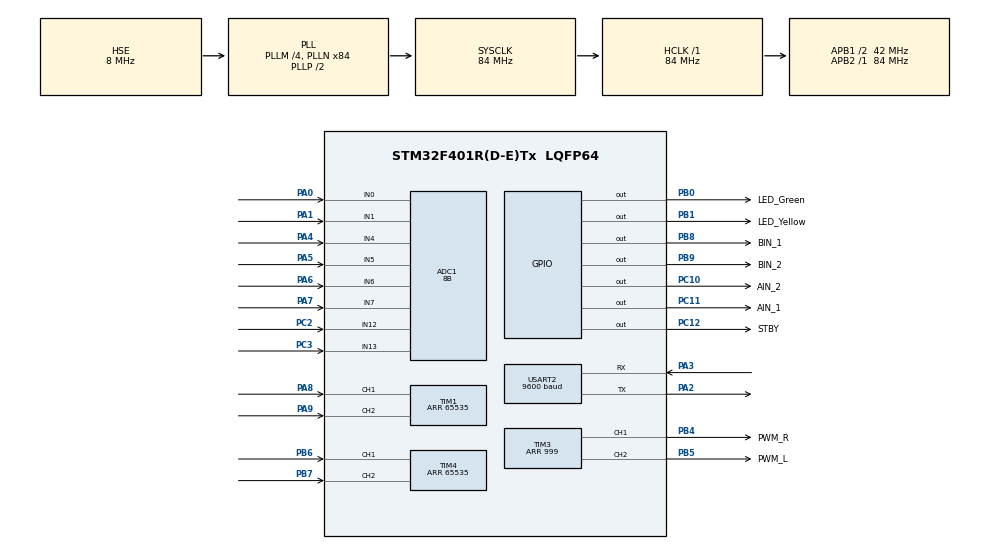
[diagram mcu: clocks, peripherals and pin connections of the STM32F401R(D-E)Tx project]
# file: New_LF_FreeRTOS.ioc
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ADC1.Channel-10\#ChannelRegularConversion=ADC_CHANNEL_6
ADC1.Channel-11\#ChannelRegularConversion=ADC_CHANNEL_7
ADC1.Channel-4\#ChannelRegularConversion=ADC_CHANNEL_12
ADC1.Channel-5\#ChannelRegularConversion=ADC_CHANNEL_13
ADC1.Channel-6\#ChannelRegularConversion=ADC_CHANNEL_0
ADC1.Channel-7\#ChannelRegularConversion=ADC_CHANNEL_1
ADC1.Channel-8\#ChannelRegularConversion=ADC_CHANNEL_4
ADC1.Channel-9\#ChannelRegularConversion=ADC_CHANNEL_5
ADC1.ClockPrescaler=ADC_CLOCK_SYNC_PCLK_DIV4
ADC1.ContinuousConvMode=ENABLE
ADC1.DMAContinuousRequests=ENABLE
ADC1.NbrOfConversion=8
ADC1.NbrOfConversionFlag=1
ADC1.Rank-10\#ChannelRegularConversion=7
ADC1.Rank-11\#ChannelRegularConversion=8
ADC1.Rank-4\#ChannelRegularConversion=1
ADC1.Rank-5\#ChannelRegularConversion=2
ADC1.Rank-6\#ChannelRegularConversion=3
ADC1.Rank-7\#ChannelRegularConversion=4
ADC1.Rank-8\#ChannelRegularConversion=5
ADC1.Rank-9\#ChannelRegularConversion=6
ADC1.Resolution=ADC_RESOLUTION_8B
ADC1.SamplingTime-10\#ChannelRegularConversion=ADC_SAMPLETIME_480CYCLES
ADC1.SamplingTime-11\#ChannelRegularConversion=ADC_SAMPLETIME_480CYCLES
ADC1.SamplingTime-4\#ChannelRegularConversion=ADC_SAMPLETIME_480CYCLES
ADC1.SamplingTime-5\#ChannelRegularConversion=ADC_SAMPLETIME_480CYCLES
ADC1.SamplingTime-6\#ChannelRegularConversion=ADC_SAMPLETIME_480CYCLES
ADC1.SamplingTime-7\#ChannelRegularConversion=ADC_SAMPLETIME_480CYCLES
ADC1.SamplingTime-8\#ChannelRegularConversion=ADC_SAMPLETIME_480CYCLES
ADC1.SamplingTime-9\#ChannelRegularConversion=ADC_SAMPLETIME_480CYCLES
ADC1.ScanConvMode=ENABLE
ADC1.master=1
Dma.ADC1.0.Direction=DMA_PERIPH_TO_MEMORY
Dma.ADC1.0.FIFOMode=DMA_FIFOMODE_DISABLE
Dma.ADC1.0.Instance=DMA2_Stream0
Dma.ADC1.0.MemDataAlignment=DMA_MDATAALIGN_HALFWORD
Dma.ADC1.0.MemInc=DMA_MINC_ENABLE
Dma.ADC1.0.Mode=DMA_CIRCULAR
Dma.ADC1.0.PeriphDataAlignment=DMA_PDATAALIGN_HALFWORD
Dma.ADC1.0.PeriphInc=DMA_PINC_DISABLE
Dma.ADC1.0.Priority=DMA_PRIORITY_LOW
Dma.Request0=ADC1
FREERTOS.INCLUDE_eTaskGetState=1
FREERTOS.Tasks01=defaultTask,0,128,StartDefaultTask,Default,NULL
Mcu.Family=STM32F4
Mcu.Name=STM32F401R(D-E)Tx
Mcu.Package=LQFP64
NVIC.DMA2_Stream0_IRQn=true\:5\:0\:false\:false\:true\:true\:false
NVIC.PriorityGroup=NVIC_PRIORITYGROUP_4
NVIC.TIM1_TRG_COM_TIM11_IRQn=true\:0\:0\:false\:false\:true\:false\:false
NVIC.TimeBase=TIM1_TRG_COM_TIM11_IRQn
NVIC.TimeBaseIP=TIM11
NVIC.USART2_IRQn=true\:5\:0\:false\:false\:true\:true\:true
PA0-WKUP.Signal=ADCx_IN0
PA1.Signal=ADCx_IN1
PA2.Mode=Asynchronous
PA2.Signal=USART2_TX
PA3.Mode=Asynchronous
PA3.Signal=USART2_RX
PA4.Signal=ADCx_IN4
PA5.Signal=ADCx_IN5
PA6.Signal=ADCx_IN6
PA7.Signal=ADCx_IN7
PA8.Signal=S_TIM1_CH1
PA9.Signal=S_TIM1_CH2
PB0.GPIO_Label=LED_Green
PB0.Signal=GPIO_Output
PB1.GPIO_Label=LED_Yellow
PB1.Signal=GPIO_Output
PB3.GPIO_Label=SWO
PB3.Signal=SYS_JTDO-SWO
PB4.GPIO_Label=PWM_R
PB4.Signal=S_TIM3_CH1
PB5.GPIO_Label=PWM_L
PB5.Signal=S_TIM3_CH2
PB6.Signal=S_TIM4_CH1
PB7.Signal=S_TIM4_CH2
PB8.GPIO_Label=BIN_1
PB8.Signal=GPIO_Output
PB9.GPIO_Label=BIN_2
PB9.Signal=GPIO_Output
PC10.GPIO_Label=AIN_2
PC10.Signal=GPIO_Output
PC11.GPIO_Label=AIN_1
PC11.Signal=GPIO_Output
PC12.GPIO_Label=STBY
PC12.Signal=GPIO_Output
PC14-OSC32_IN.Mode=LSE-External-Oscillator
PC14-OSC32_IN.Signal=RCC_OSC32_IN
PC15-OSC32_OUT.Mode=LSE-External-Oscillator
PC15-OSC32_OUT.Signal=RCC_OSC32_OUT
PC2.Signal=ADCx_IN12
PC3.Signal=ADCx_IN13
PH0\ -\ OSC_IN.Mode=HSE-External-Oscillator
PH0\ -\ OSC_IN.Signal=RCC_OSC_IN
PH1\ -\ OSC_OUT.Mode=HSE-External-Oscillator
PH1\ -\ OSC_OUT.Signal=RCC_OSC_OUT
ProjectManager.HeapSize=0x200
ProjectManager.StackSize=0x400
ProjectManager.TargetToolchain=SW4STM32
RCC.48MHZClocksFreq_Value=42000000
RCC.AHBFreq_Value=84000000
RCC.APB1CLKDivider=RCC_HCLK_DIV2
RCC.APB1Freq_Value=42000000
RCC.APB1TimFreq_Value=84000000
RCC.APB2Freq_Value=84000000
RCC.APB2TimFreq_Value=84000000
RCC.CortexFreq_Value=84000000
RCC.HCLKFreq_Value=84000000
RCC.HSE_VALUE=8000000
RCC.HSI_VALUE=16000000
RCC.PLLM=4
RCC.PLLN=84
RCC.PLLSourceVirtual=RCC_PLLSOURCE_HSE
RCC.SYSCLKFreq_VALUE=84000000
RCC.SYSCLKSource=RCC_SYSCLKSOURCE_PLLCLK
RCC.VCOOutputFreq_Value=168000000
SH.ADCx_IN0.0=ADC1_IN0,IN0
SH.ADCx_IN1.0=ADC1_IN1,IN1
SH.ADCx_IN12.0=ADC1_IN12,IN12
SH.ADCx_IN13.0=ADC1_IN13,IN13
SH.ADCx_IN4.0=ADC1_IN4,IN4
SH.ADCx_IN5.0=ADC1_IN5,IN5
SH.ADCx_IN6.0=ADC1_IN6,IN6
SH.ADCx_IN7.0=ADC1_IN7,IN7
SH.S_TIM1_CH1.0=TIM1_CH1,Encoder_Interface
SH.S_TIM1_CH2.0=TIM1_CH2,Encoder_Interface
SH.S_TIM3_CH1.0=TIM3_CH1,PWM Generation1 CH1
SH.S_TIM3_CH2.0=TIM3_CH2,PWM Generation2 CH2
SH.S_TIM4_CH1.0=TIM4_CH1,Encoder_Interface
SH.S_TIM4_CH2.0=TIM4_CH2,Encoder_Interface
TIM1.EncoderMode=TIM_ENCODERMODE_TI12
TIM1.IC1Filter=15
TIM1.IC2Filter=15
TIM1.Period=65535
TIM3.Channel-PWM\ Generation1\ CH1=TIM_CHANNEL_1
TIM3.Channel-PWM\ Generation2\ CH2=TIM_CHANNEL_2
TIM3.Period=999
TIM4.CounterMode=TIM_COUNTERMODE_UP
TIM4.EncoderMode=TIM_ENCODERMODE_TI12
TIM4.IC1Filter=15
TIM4.IC2Filter=15
TIM4.Period=65535
USART2.BaudRate=9600
USART2.VirtualMode=VM_ASYNC
VP_FREERTOS_VS_ENABLE.Mode=Enabled
VP_SYS_VS_tim11.Mode=TIM11
VP_TIM3_VS_ClockSourceINT.Mode=Internal
board=custom

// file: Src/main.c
/* USER CODE BEGIN Header */
/**
  ******************************************************************************
  * @file           : main.c
  * @brief          : Main program body
  ******************************************************************************
  * This notice applies to any and all portions of this file
  * that are not between comment pairs USER CODE BEGIN and
  * USER CODE END. Other portions of this file, whether
  * inserted by the user or by software development tools
  * are owned by their respective copyright owners.
  *
  * Copyright (c) 2019 STMicroelectronics International N.V.
  * All rights reserved.
  *
  * Redistribution and use in source and binary forms, with or without
  * modification, are permitted, provided that the following conditions are met:
  *
  * 1. Redistribution of source code must retain the above copyright notice,
  *    this list of conditions and the following disclaimer.
  * 2. Redistributions in binary form must reproduce the above copyright notice,
  *    this list of conditions and the following disclaimer in the documentation
  *    and/or other materials provided with the distribution.
  * 3. Neither the name of STMicroelectronics nor the names of other
  *    contributors to this software may be used to endorse or promote products
  *    derived from this software without specific written permission.
  * 4. This software, including modifications and/or derivative works of this
  *    software, must execute solely and exclusively on microcontroller or
  *    microprocessor devices manufactured by or for STMicroelectronics.
  * 5. Redistribution and use of this software other than as permitted under
  *    this license is void and will automatically terminate your rights under
  *    this license.
  *
  * THIS SOFTWARE IS PROVIDED BY STMICROELECTRONICS AND CONTRIBUTORS "AS IS"
  * AND ANY EXPRESS, IMPLIED OR STATUTORY WARRANTIES, INCLUDING, BUT NOT
  * LIMITED TO, THE IMPLIED WARRANTIES OF MERCHANTABILITY, FITNESS FOR A
  * PARTICULAR PURPOSE AND NON-INFRINGEMENT OF THIRD PARTY INTELLECTUAL PROPERTY
  * RIGHTS ARE DISCLAIMED TO THE FULLEST EXTENT PERMITTED BY LAW. IN NO EVENT
  * SHALL STMICROELECTRONICS OR CONTRIBUTORS BE LIABLE FOR ANY DIRECT, INDIRECT,
  * INCIDENTAL, SPECIAL, EXEMPLARY, OR CONSEQUENTIAL DAMAGES (INCLUDING, BUT NOT
  * LIMITED TO, PROCUREMENT OF SUBSTITUTE GOODS OR SERVICES; LOSS OF USE, DATA,
  * OR PROFITS; OR BUSINESS INTERRUPTION) HOWEVER CAUSED AND ON ANY THEORY OF
  * LIABILITY, WHETHER IN CONTRACT, STRICT LIABILITY, OR TORT (INCLUDING
  * NEGLIGENCE OR OTHERWISE) ARISING IN ANY WAY OUT OF THE USE OF THIS SOFTWARE,
  * EVEN IF ADVISED OF THE POSSIBILITY OF SUCH DAMAGE.
  *
  ******************************************************************************
  */
/* USER CODE END Header */

#include "main.h"
#include "cmsis_os.h"
#include "adc.h"
#include "dma.h"
#include "tim.h"
#include "usart.h"
#include "gpio.h"

/* USER CODE BEGIN Includes */

#include "FreeRTOS.h"
#include "task.h"
#include "communication.h"
#include "state_machine.h"
#include "task_line_sensor_handler.h"
#include "encoders.h"
#include "pid.h"
#include "task_motor_controller.h"
#include "config.h"
#include "task_track_recording.h"
#include "task_encoder_handler.h"

/* USER CODE END Includes */

void SystemClock_Config(void);
void MX_FREERTOS_Init(void);
/* USER CODE BEGIN PFP */

void HAL_UART_RxCpltCallback(UART_HandleTypeDef *huart)
{
	handleUart();
}

/* USER CODE END PFP */

int main(void)
{

  /* MCU Configuration--------------------------------------------------------*/

  /* Reset of all peripherals, Initializes the Flash interface and the Systick. */
  HAL_Init();

  /* Configure the system clock */
  SystemClock_Config();

  /* Initialize all configured peripherals */
  MX_GPIO_Init();
  MX_DMA_Init();
  MX_ADC1_Init();
  MX_TIM3_Init();
  MX_TIM1_Init();
  MX_TIM4_Init();
  MX_USART2_UART_Init();
  /* USER CODE BEGIN 2 */

  set_initial_config();
  initIncomingRequestsHandler();
  initTaskNormalRun();
  initTaskEncoderHandler();
  initTaskLineSensorHandler();
  initTaskMotorController();
  initTaskTrackRecording();
/*
  init_PWM();

  init_motor(getRightMotorPtr(), &(TIM3->CCR1), BIN_1_GPIO_Port, BIN_2_GPIO_Port, BIN_1_Pin, BIN_2_Pin);
  init_motor(getLeftMotorPtr(), &(TIM3->CCR2), AIN_1_GPIO_Port, AIN_2_GPIO_Port, AIN_1_Pin, AIN_2_Pin);

  MOTOR_T *left = getLeftMotorPtr();
  MOTOR_T *right = getRightMotorPtr();
  set_PWM(right, -350);
  set_PWM(left, -350);
*/
  //resumeTaskNormalRun();

  /* USER CODE END 2 */

  /* Call init function for freertos objects (in freertos.c) */
  MX_FREERTOS_Init();

  /* Start scheduler */
  osKernelStart();

  /* We should never get here as control is now taken by the scheduler */

  /* Infinite loop */
  while (1)
  {

  }
}

void SystemClock_Config(void)
{
  RCC_OscInitTypeDef RCC_OscInitStruct = {0};
  RCC_ClkInitTypeDef RCC_ClkInitStruct = {0};

  /**Configure the main internal regulator output voltage
  */
  __HAL_RCC_PWR_CLK_ENABLE();
  __HAL_PWR_VOLTAGESCALING_CONFIG(PWR_REGULATOR_VOLTAGE_SCALE2);
  /**Initializes the CPU, AHB and APB busses clocks
  */
  RCC_OscInitStruct.OscillatorType = RCC_OSCILLATORTYPE_HSE;
  RCC_OscInitStruct.HSEState = RCC_HSE_ON;
  RCC_OscInitStruct.PLL.PLLState = RCC_PLL_ON;
  RCC_OscInitStruct.PLL.PLLSource = RCC_PLLSOURCE_HSE;
  RCC_OscInitStruct.PLL.PLLM = 4;
  RCC_OscInitStruct.PLL.PLLN = 84;
  RCC_OscInitStruct.PLL.PLLP = RCC_PLLP_DIV2;
  RCC_OscInitStruct.PLL.PLLQ = 4;
  if (HAL_RCC_OscConfig(&RCC_OscInitStruct) != HAL_OK)
  {
    Error_Handler();
  }
  /**Initializes the CPU, AHB and APB busses clocks
  */
  RCC_ClkInitStruct.ClockType = RCC_CLOCKTYPE_HCLK|RCC_CLOCKTYPE_SYSCLK
                              |RCC_CLOCKTYPE_PCLK1|RCC_CLOCKTYPE_PCLK2;
  RCC_ClkInitStruct.SYSCLKSource = RCC_SYSCLKSOURCE_PLLCLK;
  RCC_ClkInitStruct.AHBCLKDivider = RCC_SYSCLK_DIV1;
  RCC_ClkInitStruct.APB1CLKDivider = RCC_HCLK_DIV2;
  RCC_ClkInitStruct.APB2CLKDivider = RCC_HCLK_DIV1;

  if (HAL_RCC_ClockConfig(&RCC_ClkInitStruct, FLASH_LATENCY_2) != HAL_OK)
  {
    Error_Handler();
  }
}

void HAL_TIM_PeriodElapsedCallback(TIM_HandleTypeDef *htim)
{
  if (htim->Instance == TIM11) {
    HAL_IncTick();
  }
}

void Error_Handler(void)
{
}

/************************ (C) COPYRIGHT STMicroelectronics *****END OF FILE****/
